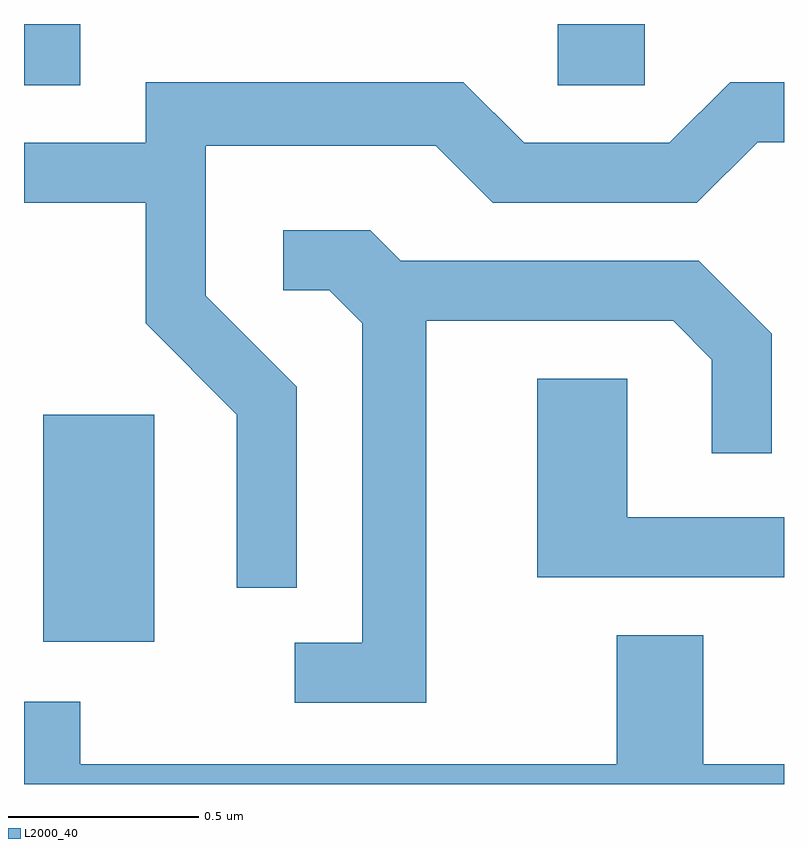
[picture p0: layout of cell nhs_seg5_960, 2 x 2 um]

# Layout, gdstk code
import gdstk
lib = gdstk.Library(unit=1e-6, precision=1e-09)
def R(c, l, rs):  # rectangles x0, y0, x1, y1
    for r in rs: c.add(gdstk.rectangle(r[:2], r[2:], *l))
def P(c, l, *ps):  # polygons
    for p in ps: c.add(gdstk.Polygon(p, *l))
L2000_40 = (2000, 40)

nhs_seg5_960 = lib.new_cell('nhs_seg5_960')
R(nhs_seg5_960, L2000_40, [(192.661,1397.446,192.954,1398.044), (192.611,1398.911,192.759,1399.072), (194.016,1398.911,194.244,1399.072)])
P(nhs_seg5_960, L2000_40, [(193.329,1398.117),(193.089,1398.357),(193.089,1398.751),(193.694,1398.751),(193.844,1398.601),(194.382,1398.601),(194.542,1398.761),(194.611,1398.761),(194.611,1398.919),(194.469,1398.919),(194.309,1398.759),(193.927,1398.759),(193.767,1398.919),(192.931,1398.919),(192.931,1398.759),(192.611,1398.759),(192.611,1398.601),(192.931,1398.601),(192.931,1398.284),(193.171,1398.044),(193.171,1397.588),(193.329,1397.588)],
  [(193.669,1398.291),(194.319,1398.291),(194.421,1398.189),(194.421,1397.943),(194.579,1397.943),(194.579,1398.257),(194.387,1398.449),(193.602,1398.449),(193.522,1398.529),(193.293,1398.529),(193.293,1398.371),(193.414,1398.371),(193.501,1398.284),(193.501,1397.444),(193.323,1397.444),(193.323,1397.286),(193.669,1397.286)],
  [(194.611,1397.774),(194.199,1397.774),(194.199,1398.139),(193.961,1398.139),(193.961,1397.616),(194.611,1397.616)],
  [(194.611,1397.124),(194.399,1397.124),(194.399,1397.464),(194.171,1397.464),(194.171,1397.124),(192.759,1397.124),(192.759,1397.289),(192.611,1397.289),(192.611,1397.072),(194.611,1397.072)])

lib.write_gds('nhs_seg5_960.gds')
